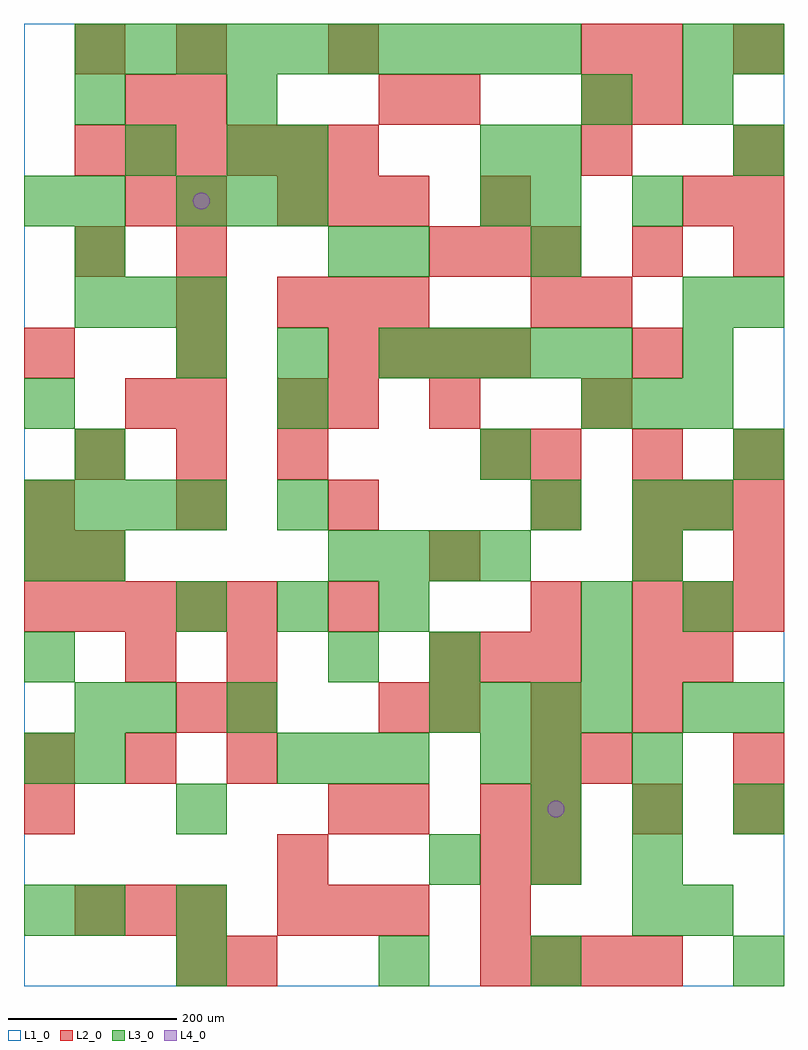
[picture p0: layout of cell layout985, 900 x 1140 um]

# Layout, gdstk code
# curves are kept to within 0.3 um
import gdstk
lib = gdstk.Library(unit=1e-6, precision=1e-09)
def R(c, l, rs):  # rectangles x0, y0, x1, y1
    for r in rs: c.add(gdstk.rectangle(r[:2], r[2:], *l))
def A(c, l, x, y, w, h, nx, ny, dx, dy):  # array of equal rectangles
    R(c, l, [(x+i*dx, y+j*dy, x+i*dx+w, y+j*dy+h) for i in range(nx) for j in range(ny)])
def P(c, l, *ps):  # polygons
    for p in ps: c.add(gdstk.Polygon(p, *l))
L1_0 = (1, 0)
L2_0 = (2, 0)
L3_0 = (3, 0)
L4_0 = (4, 0)

layout985 = lib.new_cell('layout985')
R(layout985, L1_0, [(0,0,900,1140)])
A(layout985, L2_0, 540, 0, 60, 60, 4, 1, 60, 0)
A(layout985, L2_0, 60, 60, 60, 60, 3, 1, 60, 0)
A(layout985, L2_0, 300, 60, 60, 60, 3, 2, 60, 720)
A(layout985, L2_0, 540, 60, 60, 60, 1, 3, 0, 60)
A(layout985, L2_0, 360, 180, 60, 60, 1, 3, 0, 240)
A(layout985, L2_0, 600, 180, 60, 60, 3, 2, 120, 420)
A(layout985, L2_0, 0, 240, 60, 60, 3, 1, 120, 0)
A(layout985, L2_0, 480, 300, 60, 60, 3, 1, 120, 0)
A(layout985, L2_0, 480, 360, 60, 60, 3, 2, 60, 480)
A(layout985, L2_0, 0, 420, 60, 60, 5, 1, 60, 0)
A(layout985, L2_0, 720, 420, 60, 60, 3, 2, 60, 120)
A(layout985, L2_0, 0, 540, 60, 60, 3, 2, 180, 180)
A(layout985, L2_0, 60, 600, 60, 60, 3, 1, 120, 0)
A(layout985, L2_0, 420, 720, 60, 60, 3, 1, 60, 0)
A(layout985, L2_0, 180, 780, 60, 60, 1, 3, 0, 60)
A(layout985, L2_0, 840, 840, 60, 60, 1, 3, 0, 60)
A(layout985, L2_0, 300, 900, 60, 60, 3, 1, 60, 0)
A(layout985, L2_0, 60, 960, 60, 60, 6, 1, 60, 0)
A(layout985, L2_0, 660, 960, 60, 60, 1, 3, 0, 60)
R(layout985, L2_0, [(180,0,240,60), (240,0,300,60), (300,120,360,180), (600,120,660,180), (0,180,60,240), (420,180,480,240), (600,240,660,300), (660,240,720,300), (840,240,900,300), (180,300,240,360), (240,300,300,360), (420,300,480,360), (120,360,180,420), (240,360,300,420), (720,360,780,420), (780,360,840,420), (600,420,660,480), (0,480,60,540), (60,480,120,540), (480,480,540,540), (720,480,780,540), (840,480,900,540), (600,540,660,600), (540,600,600,660), (120,660,180,720), (180,660,240,720), (300,660,360,720), (480,660,540,720), (660,660,720,720), (720,720,780,780), (600,780,660,840), (660,780,720,840), (60,840,120,900), (720,840,780,900), (120,900,180,960), (540,900,600,960), (780,900,840,960), (120,1020,180,1080), (180,1020,240,1080), (420,1020,480,1080), (480,1020,540,1080), (720,1020,780,1080), (60,1080,120,1140), (180,1080,240,1140), (360,1080,420,1140), (720,1080,780,1140), (840,1080,900,1140)])
A(layout985, L3_0, 840, 0, 60, 60, 1, 3, 0, 300)
A(layout985, L3_0, 480, 120, 60, 60, 3, 1, 120, 0)
A(layout985, L3_0, 600, 180, 60, 60, 3, 1, 120, 0)
A(layout985, L3_0, 0, 240, 60, 60, 1, 3, 0, 120)
A(layout985, L3_0, 300, 240, 60, 60, 3, 1, 60, 0)
A(layout985, L3_0, 600, 240, 60, 60, 1, 3, 0, 300)
A(layout985, L3_0, 480, 300, 60, 60, 4, 2, 60, 420)
A(layout985, L3_0, 780, 300, 60, 60, 1, 3, 0, 120)
A(layout985, L3_0, 180, 420, 60, 60, 3, 2, 120, 300)
A(layout985, L3_0, 360, 480, 60, 60, 4, 1, 60, 0)
A(layout985, L3_0, 0, 540, 60, 60, 4, 1, 60, 0)
A(layout985, L3_0, 660, 660, 60, 60, 3, 1, 60, 0)
A(layout985, L3_0, 60, 780, 60, 60, 3, 1, 60, 0)
A(layout985, L3_0, 180, 900, 60, 60, 3, 1, 60, 0)
A(layout985, L3_0, 60, 1080, 60, 60, 10, 1, 60, 0)
R(layout985, L3_0, [(180,0,240,60), (420,0,480,60), (600,0,660,60), (0,60,60,120), (60,60,120,120), (180,60,240,120), (720,60,780,120), (780,60,840,120), (180,180,240,240), (60,240,120,300), (540,240,600,300), (720,240,780,300), (60,300,120,360), (120,300,180,360), (240,300,300,360), (360,360,420,420), (480,360,540,420), (660,360,720,420), (660,420,720,480), (60,480,120,540), (720,480,780,540), (300,540,360,600), (720,540,780,600), (60,600,120,660), (540,600,600,660), (0,660,60,720), (300,660,360,720), (780,720,840,780), (780,780,840,840), (840,780,900,840), (60,840,120,900), (360,840,420,900), (420,840,480,900), (0,900,60,960), (60,900,120,960), (540,900,600,960), (600,900,660,960), (720,900,780,960), (120,960,180,1020), (240,960,300,1020), (300,960,360,1020), (540,960,600,1020), (600,960,660,1020), (840,960,900,1020), (60,1020,120,1080), (240,1020,300,1080), (660,1020,720,1080), (780,1020,840,1080), (780,1080,840,1140), (840,1080,900,1140)])
P(layout985, L4_0, [(220,930),(219.239,933.827),(217.071,937.071),(213.827,939.239),(210,940),(206.173,939.239),(202.929,937.071),(200.761,933.827),(200,930),(200.761,926.173),(202.929,922.929),(206.173,920.761),(210,920),(213.827,920.761),(217.071,922.929),(219.239,926.173)],
  [(640,210),(639.239,213.827),(637.071,217.071),(633.827,219.239),(630,220),(626.173,219.239),(622.929,217.071),(620.761,213.827),(620,210),(620.761,206.173),(622.929,202.929),(626.173,200.761),(630,200),(633.827,200.761),(637.071,202.929),(639.239,206.173)])

lib.write_gds('layout985.gds')
